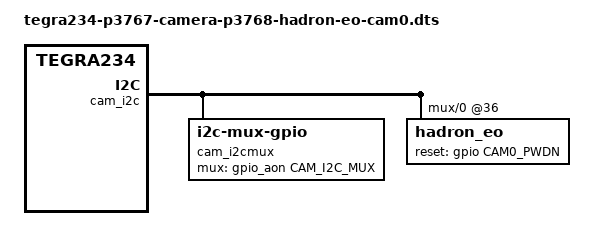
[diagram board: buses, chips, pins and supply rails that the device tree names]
// SPDX-License-Identifier: GPL-2.0-only
// SPDX-FileCopyrightText: Copyright (c) 2026, ARK Electronics.

/*
 * FLIR Hadron EO (OV64B40) on JAJ CAM0 (J28), 2-lane:
 * CSI1_CLK with CSI1_D0/D1. CSI0_D0/D1 also reach the connector, but
 * CSI0_CLK is not connected and L4T runs x4 only on CSI0_CLK or CSI2_CLK,
 * so this port is x2. Use CAM1 for x4.
 * I2C mux channel 0, reset CAM0_PWDN (PH.06).
 */

/dts-v1/;
/plugin/;

#define CAM0_PWDN	TEGRA234_MAIN_GPIO(H, 6)
#define CAM_I2C_MUX	TEGRA234_AON_GPIO(CC, 3)

#define HADRON_EO_PORT_INDEX	1
#define HADRON_EO_LANES		2
#define HADRON_EO_SINTERFACE	"serial_b"
#define HADRON_EO_LANE_POLARITY	"6"
#define HADRON_EO_SENSOR_SYSFS	"/sys/firmware/devicetree/base/bus@0/cam_i2cmux/i2c@0/hadron_eo@36"

#include <dt-bindings/tegra234-p3767-0000-common.h>
#include "tegra234-camera-hadron-eo.dtsi"

/ {
	overlay-name = "Camera FLIR Hadron EO CAM0 2-lane";
	jetson-header-name = "Jetson 22pin CSI Connector";
	compatible = JETSON_COMPATIBLE_P3768;

	fragment-hadron-eo-i2c@0 {
		target-path = "/";
		__overlay__ {
			bus@0 {
				cam_i2cmux {
					status = "okay";
					compatible = "i2c-mux-gpio";
					#address-cells = <1>;
					#size-cells = <0>;
					i2c-parent = <&cam_i2c>;
					mux-gpios = <&gpio_aon CAM_I2C_MUX GPIO_ACTIVE_HIGH>;
					i2c@0 {
						status = "okay";
						reg = <0>;
						#address-cells = <1>;
						#size-cells = <0>;
						/* the flash-time IMX219 default */
						rbpcv2_imx219_a@10 {
							status = "disabled";
						};
						hadron_eo@36 {
							status = "okay";
							reset-gpios = <&gpio CAM0_PWDN GPIO_ACTIVE_HIGH>;
#include "tegra234-camera-hadron-eo-sensor.dtsi"
						};
					};
					i2c@1 {
						status = "okay";
						reg = <1>;
						#address-cells = <1>;
						#size-cells = <0>;
						rbpcv2_imx219_c@10 {
							status = "disabled";
						};
					};
				};
			};
		};
	};
};
